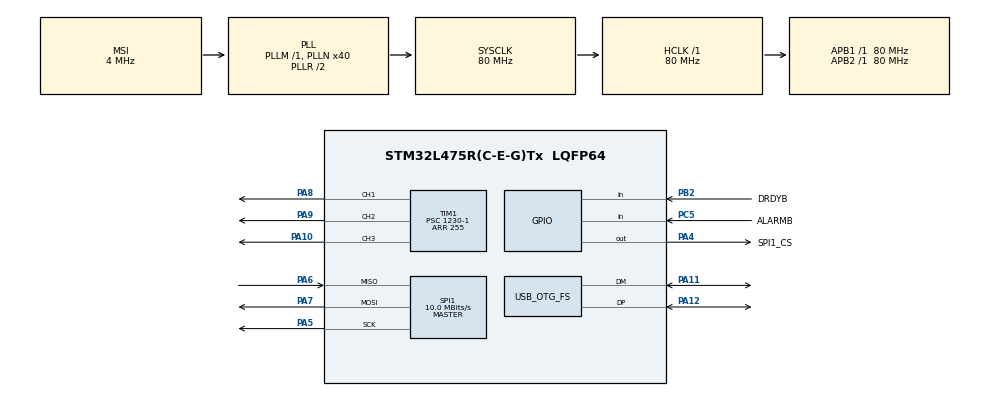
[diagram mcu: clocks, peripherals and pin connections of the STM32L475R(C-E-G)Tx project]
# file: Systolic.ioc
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Mcu.Family=STM32L4
Mcu.Name=STM32L475R(C-E-G)Tx
Mcu.Package=LQFP64
NVIC.OTG_FS_IRQn=true\:0\:0\:false\:false\:true\:false\:true
NVIC.PriorityGroup=NVIC_PRIORITYGROUP_4
PA10.Signal=S_TIM1_CH3
PA11.Mode=Device_Only
PA11.Signal=USB_OTG_FS_DM
PA12.Mode=Device_Only
PA12.Signal=USB_OTG_FS_DP
PA13\ (JTMS-SWDIO).Mode=Trace_Asynchronous_SW
PA13\ (JTMS-SWDIO).Signal=SYS_JTMS-SWDIO
PA14\ (JTCK-SWCLK).Mode=Trace_Asynchronous_SW
PA14\ (JTCK-SWCLK).Signal=SYS_JTCK-SWCLK
PA4.GPIO_Label=SPI1_CS
PA4.Signal=GPIO_Output
PA5.Mode=Full_Duplex_Master
PA5.Signal=SPI1_SCK
PA6.Mode=Full_Duplex_Master
PA6.Signal=SPI1_MISO
PA7.Mode=Full_Duplex_Master
PA7.Signal=SPI1_MOSI
PA8.Signal=S_TIM1_CH1
PA9.Signal=S_TIM1_CH2
PB2.GPIO_Label=DRDYB
PB2.Signal=GPIO_Input
PB3\ (JTDO-TRACESWO).Mode=Trace_Asynchronous_SW
PB3\ (JTDO-TRACESWO).Signal=SYS_JTDO-SWO
PC5.GPIO_Label=ALARMB
PC5.Signal=GPIO_Input
ProjectManager.HeapSize=0x200
ProjectManager.StackSize=0x400
ProjectManager.TargetToolchain=MDK-ARM V5.27
RCC.ADCFreq_Value=48000000
RCC.AHBFreq_Value=80000000
RCC.APB1Freq_Value=80000000
RCC.APB1TimFreq_Value=80000000
RCC.APB2Freq_Value=80000000
RCC.APB2TimFreq_Value=80000000
RCC.CortexFreq_Value=80000000
RCC.HCLKFreq_Value=80000000
RCC.HSE_VALUE=8000000
RCC.HSI_VALUE=16000000
RCC.LSE_VALUE=32768
RCC.MSI_VALUE=4000000
RCC.PLLN=40
RCC.PLLSAI1N=24
RCC.SYSCLKFreq_VALUE=80000000
RCC.SYSCLKSource=RCC_SYSCLKSOURCE_PLLCLK
RCC.USBFreq_Value=48000000
RCC.VCOOutputFreq_Value=160000000
SH.S_TIM1_CH1.0=TIM1_CH1,PWM Generation1 CH1
SH.S_TIM1_CH2.0=TIM1_CH2,PWM Generation2 CH2
SH.S_TIM1_CH3.0=TIM1_CH3,PWM Generation3 CH3
SPI1.BaudRatePrescaler=SPI_BAUDRATEPRESCALER_8
SPI1.CalculateBaudRate=10.0 MBits/s
SPI1.DataSize=SPI_DATASIZE_8BIT
SPI1.Direction=SPI_DIRECTION_2LINES
SPI1.Mode=SPI_MODE_MASTER
SPI1.VirtualType=VM_MASTER
TIM1.Channel-PWM\ Generation1\ CH1=TIM_CHANNEL_1
TIM1.Channel-PWM\ Generation2\ CH2=TIM_CHANNEL_2
TIM1.Channel-PWM\ Generation3\ CH3=TIM_CHANNEL_3
TIM1.Period=255
TIM1.Prescaler=1230-1
USB_DEVICE.CLASS_NAME_FS=CDC
USB_DEVICE.PRODUCT_STRING_CDC_FS=Systolic Virtual ComPort
USB_DEVICE.USBD_SELF_POWERED=0
USB_DEVICE.VirtualMode=Cdc
USB_DEVICE.VirtualModeFS=Cdc_FS
USB_OTG_FS.VirtualMode=Device_Only
VP_TIM1_VS_ClockSourceINT.Mode=Internal
VP_USB_DEVICE_VS_USB_DEVICE_CDC_FS.Mode=CDC_FS
board=custom

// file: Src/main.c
/* USER CODE BEGIN Header */
/**
  ******************************************************************************
  * @file           : main.c
  * @brief          : Main program body
  ******************************************************************************
  * @attention
  *
  * <h2><center>&copy; Copyright (c) 2020 STMicroelectronics.
  * All rights reserved.</center></h2>
  *
  * This software component is licensed by ST under Ultimate Liberty license
  * SLA0044, the "License"; You may not use this file except in compliance with
  * the License. You may obtain a copy of the License at:
  *                             www.st.com/SLA0044
  *
  ******************************************************************************
  */
/* USER CODE END Header */

#include "main.h"
#include "usb_device.h"

/* USER CODE BEGIN Includes */
#include "usbd_cdc_if.h"
#include <math.h>
#include <string.h>
#include <stdlib.h>
/* USER CODE END Includes */

SPI_HandleTypeDef hspi1;

TIM_HandleTypeDef htim1;

/* USER CODE BEGIN PV */

uint8_t spiData;
uint8_t spiReg;

uint8_t error_lod;
uint8_t error_status;
uint8_t error_range1;
uint8_t error_misc;
uint8_t revid;
uint8_t config;

uint8_t drdypin;

uint8_t upper_ch1;
uint8_t middle_ch1;
uint8_t lower_ch1;
unsigned int ch1_data;
uint8_t ch1_data2[3];
float ch1_voltage;

uint8_t tick = 0;

uint8_t upper_ch2;
uint8_t middle_ch2;
uint8_t lower_ch2;
unsigned int ch2_data;
uint8_t ch2_data2[3];
float ch2_voltage;

uint8_t upper_ch3;
uint8_t middle_ch3;
uint8_t lower_ch3;
unsigned int ch3_data;
uint8_t ch3_data2[3];
float ch3_voltage;

//uint8_t ch1_pace[2];
//float ch1_pace_voltage;
//float ch1_pace_old = 0;

char data[100];
uint8_t buffer3[1024];

float LSB;

HAL_StatusTypeDef result;

uint8_t testing;
uint8_t runstat = 0;

char usbregister[5];
char usbdata[5];
uint8_t usbreg_int;
uint8_t usbdata_int;

/* USER CODE END PV */

void SystemClock_Config(void);
static void MX_GPIO_Init(void);
static void MX_SPI1_Init(void);
static void MX_TIM1_Init(void);

/* USER CODE BEGIN 0 */

void set_RGB(uint8_t red, uint8_t green, uint8_t blue) {
	htim1.Instance->CCR1 = red;
	htim1.Instance->CCR2 = green;
	htim1.Instance->CCR3 = blue;
}

void start_RGB() {
	HAL_TIM_PWM_Start(&htim1, TIM_CHANNEL_1);
	HAL_TIM_PWM_Start(&htim1, TIM_CHANNEL_2);
	HAL_TIM_PWM_Start(&htim1, TIM_CHANNEL_3);
	set_RGB(0,0,0);
}

//FUNCTION TO READ ADS1293 REGISTERS WITH READ BIT
uint8_t read_reg(uint8_t reg) {
	//DEFINE REGISTER DATA VARIABLE
	uint8_t reg_data;
	//CS LOW - START SPI OP
	HAL_GPIO_WritePin(SPI1_CS_GPIO_Port, SPI1_CS_Pin, GPIO_PIN_RESET);
	//TRANSMIT REGISTER WITH READ BIT
	reg = 0x80 | reg;
	HAL_SPI_Transmit(&hspi1, &reg, 1, 10);
	//READ REGISTER DAT
	HAL_SPI_Receive(&hspi1, &reg_data, 1, 10);
	//CS HIGH - DONE SPI OP
	HAL_GPIO_WritePin(SPI1_CS_GPIO_Port, SPI1_CS_Pin, GPIO_PIN_SET);
	//RETURN REGISTER DATA =)
	return reg_data;
}

//FUNCTION TO WRITE TO ADS1293 REGISTERS
HAL_StatusTypeDef write_reg(uint8_t reg, uint8_t regdata) {
	uint8_t payload[2];
	HAL_StatusTypeDef writeresult;
	payload[0] = reg;
	payload[1] = regdata;
	//CS LOW - START SPI OP
	HAL_GPIO_WritePin(SPI1_CS_GPIO_Port, SPI1_CS_Pin, GPIO_PIN_RESET);
	//TRANSMIT REGISTER WITH DATA
	writeresult = HAL_SPI_Transmit(&hspi1, payload, 2, 10);
	//CS HIGH - DONE SPI OP
	HAL_GPIO_WritePin(SPI1_CS_GPIO_Port, SPI1_CS_Pin, GPIO_PIN_SET);
	//RETURN RESULT, e.g. HAL_OK or HAL_NOTOK
	return writeresult;
}

int fputc(int c, FILE *stream) {
	return(ITM_SendChar(c));
}

/* USER CODE END 0 */

int main(void)
{

  /* MCU Configuration--------------------------------------------------------*/

  /* Reset of all peripherals, Initializes the Flash interface and the Systick. */
  HAL_Init();

  /* Configure the system clock */
  SystemClock_Config();

  /* Initialize all configured peripherals */
  MX_GPIO_Init();
  MX_SPI1_Init();
  MX_TIM1_Init();
  MX_USB_DEVICE_Init();
  /* USER CODE BEGIN 2 */
	//CS DEFAULT HIGH
	HAL_GPIO_WritePin(SPI1_CS_GPIO_Port, SPI1_CS_Pin, GPIO_PIN_SET);

	start_RGB();

	//STOP CONVERSION -> 00000000
	spiData = 0x00;
	spiReg = 0x00;
	result = write_reg(spiReg, spiData);
	HAL_Delay(250);

	//SET CH1 PROPERTIES -> 00001010 -> NO TEST, IN1 to POS, and IN2 to NEG
	spiData = 0x0A; //LEAD I
	spiReg = 0x01;
	result = write_reg(spiReg, spiData);

	//SET CH2 PROPERTIES -> 00011010 -> NO TEST, IN3 to POS, and IN2 to NEG
	spiData = 0x1A; //LEAD II
	spiReg = 0x02;
	result = write_reg(spiReg, spiData);

	//SET CH3 PROPERTIES -> 00011001 -> NO TEST, IN3 to POS, and IN1 to NEG
	spiData = 0x19; //LEAD III
	spiReg = 0x03;
	result = write_reg(spiReg, spiData);

	//SETUP CLK
	spiData = 0x04;
	spiReg = 0x12;
	result = write_reg(spiReg, spiData);

	//Setup R2 DEC RATE
	//spiData = 0x01; //4
	spiData = 0x08; //8
	spiReg = 0x21;
	result = write_reg(spiReg, spiData);

	//Setup R3-1, R3-2 & R3-3
	//spiData = 0x08; //12
	spiData = 0x10; //16
	//spiData = 0x20; //32
	//spiData = 0x40; //64
	//spiData = 0x80; //128

	spiReg = 0x22;
	result = write_reg(spiReg, spiData);
	spiReg = 0x23;
	result = write_reg(spiReg, spiData);
	spiReg = 0x24;
	result = write_reg(spiReg, spiData);

	//DRDY TO CHANNEL 1 ECG
	spiData = 0x08;
	spiReg = 0x27;
	result = write_reg(spiReg, spiData);

	//RLDOUT SETUP & TO IN4
	//spiData = 0x04; //LOW BAND
	spiData = 0x44; //HIGH BAND
	spiReg = 0x0C;
	result = write_reg(spiReg, spiData);

	//COMMONMODE USING IN1, IN2 & IN3
	spiData = 0x07;
	spiReg = 0x0A;
	result = write_reg(spiReg, spiData);

	//COMMONMODE SETUP
	spiData = 0x04; //HIGH BAND LOW CAP DRV
	//spiData = 0x05; //HIGH BAND MED CAP DRV
	spiReg = 0x0B;
	result = write_reg(spiReg, spiData);

	//LOOP BACK SETUP
	//spiData = 0x10; //CH1 ONLY
	spiData = 0x30; //CH1 & CH2 ONLY
	spiReg = 0x2F;
	result = write_reg(spiReg, spiData);

	//SHUT DOWN CHANNELS
	//spiData = 0x36; //CH3 AND CH2 OFF
	//spiData = 0x24; //CH3 OFF
	spiData = 0x00; //ALL ON
	spiReg = 0x14;
	result = write_reg(spiReg, spiData);

	//FRONT END RESOLUTION
	//spiData = 0x03; //HIGH RES CH1 & CH2
	//spiData = 0x07; //HIGH RES ALL 102.4 KHz
	spiData = 0x3F; //HIGH RES ALL 204.8 KHz
	spiReg = 0x13;
	result = write_reg(spiReg, spiData);

	//START CONVERSION -> 00000001
	spiData = 0x01;
	spiReg = 0x00;
	result = write_reg(spiReg, spiData);

  /* USER CODE END 2 */

  /* Infinite loop */
  /* USER CODE BEGIN WHILE */
  while (1)
  {
		//READ DRDY STATUS
		drdypin = HAL_GPIO_ReadPin(DRDYB_GPIO_Port, DRDYB_Pin);
		if (drdypin == 0 && runstat == 1) {
		//if (runstat == 1) {
			set_RGB(0,0,20);

			//READ CH1 ECG
			upper_ch1 = read_reg(0x37);
			middle_ch1 = read_reg(0x38);
			lower_ch1 = read_reg(0x39);

			ch1_data = upper_ch1 << 16 | middle_ch1 << 8 | lower_ch1;
			ch1_voltage = ch1_data; //(((ch1_data / 0x800000) - (1.00/2.00)) * 4.8) / 3.5;

			//READ CH2 ECG
			upper_ch2 = read_reg(0x3A);
			middle_ch2 = read_reg(0x3B);
			lower_ch2 = read_reg(0x3C);

			ch2_data = upper_ch2 << 16 | middle_ch2 << 8 | lower_ch2;
			ch2_voltage = ch2_data;

			//READ CH3 ECG
			upper_ch3 = read_reg(0x3D);
			middle_ch3 = read_reg(0x3E);
			lower_ch3 = read_reg(0x3F);

			ch3_data = upper_ch3 << 16 | middle_ch3 << 8 | lower_ch3;
			ch3_voltage = ch3_data;

			//mV conversion
			//ch1_voltage = ch1_voltage * pow(10.0,3.0);
			//ch2_voltage = ch2_voltage * pow(10.0,3.0);
			//ch3_voltage = ch3_voltage * pow(10.0,3.0);

			/*
			ch1_pace[0] = read_reg(0x31);
			ch1_pace[1] = read_reg(0x32);
			ch1_pace_voltage = ch1_pace[0] << 8 | ch1_pace[1];
			if ((ch1_pace_voltage - ch1_pace_old) > 0 && ch1_pace_voltage > )
			*/

			//CALCULATE LEAD III

			/*
			//READ CH1 PACE
			upper_ch1 = read_reg(0x31);
			lower_ch1 = read_reg(0x32);
			ch1_data = upper_ch1 << 8 | lower_ch1;
			ch1_voltage = ch1_data;
			*/
			/*
			//READ ERROR REGISTERS
			error_lod = read_reg(0x18);
			error_status = read_reg(0x19);
			error_range1 = read_reg(00x1A);
			error_misc = read_reg(0x1E);
			revid = read_reg(0x40);
			config = read_reg(0x00);
			*/

			// sprintf(data, "%f\n", ch2_voltage);
			sprintf(data, "%f,%f,%f\n", ch1_voltage, ch2_voltage, ch3_voltage);
			strcpy (buffer3, data);
			CDC_Transmit_FS(buffer3, strlen(buffer3));
			//printf("Data read!");
			set_RGB(0,20,0);
		}
		//HAL_Delay(1000);

    /* USER CODE END WHILE */

  }
}

void SystemClock_Config(void)
{
  RCC_OscInitTypeDef RCC_OscInitStruct = {0};
  RCC_ClkInitTypeDef RCC_ClkInitStruct = {0};
  RCC_PeriphCLKInitTypeDef PeriphClkInit = {0};

  /** Initializes the CPU, AHB and APB busses clocks
  */
  RCC_OscInitStruct.OscillatorType = RCC_OSCILLATORTYPE_MSI;
  RCC_OscInitStruct.MSIState = RCC_MSI_ON;
  RCC_OscInitStruct.MSICalibrationValue = 0;
  RCC_OscInitStruct.MSIClockRange = RCC_MSIRANGE_6;
  RCC_OscInitStruct.PLL.PLLState = RCC_PLL_ON;
  RCC_OscInitStruct.PLL.PLLSource = RCC_PLLSOURCE_MSI;
  RCC_OscInitStruct.PLL.PLLM = 1;
  RCC_OscInitStruct.PLL.PLLN = 40;
  RCC_OscInitStruct.PLL.PLLP = RCC_PLLP_DIV7;
  RCC_OscInitStruct.PLL.PLLQ = RCC_PLLQ_DIV2;
  RCC_OscInitStruct.PLL.PLLR = RCC_PLLR_DIV2;
  if (HAL_RCC_OscConfig(&RCC_OscInitStruct) != HAL_OK)
  {
    Error_Handler();
  }
  /** Initializes the CPU, AHB and APB busses clocks
  */
  RCC_ClkInitStruct.ClockType = RCC_CLOCKTYPE_HCLK|RCC_CLOCKTYPE_SYSCLK
                              |RCC_CLOCKTYPE_PCLK1|RCC_CLOCKTYPE_PCLK2;
  RCC_ClkInitStruct.SYSCLKSource = RCC_SYSCLKSOURCE_PLLCLK;
  RCC_ClkInitStruct.AHBCLKDivider = RCC_SYSCLK_DIV1;
  RCC_ClkInitStruct.APB1CLKDivider = RCC_HCLK_DIV1;
  RCC_ClkInitStruct.APB2CLKDivider = RCC_HCLK_DIV1;

  if (HAL_RCC_ClockConfig(&RCC_ClkInitStruct, FLASH_LATENCY_4) != HAL_OK)
  {
    Error_Handler();
  }
  PeriphClkInit.PeriphClockSelection = RCC_PERIPHCLK_USB;
  PeriphClkInit.UsbClockSelection = RCC_USBCLKSOURCE_PLLSAI1;
  PeriphClkInit.PLLSAI1.PLLSAI1Source = RCC_PLLSOURCE_MSI;
  PeriphClkInit.PLLSAI1.PLLSAI1M = 1;
  PeriphClkInit.PLLSAI1.PLLSAI1N = 24;
  PeriphClkInit.PLLSAI1.PLLSAI1P = RCC_PLLP_DIV7;
  PeriphClkInit.PLLSAI1.PLLSAI1Q = RCC_PLLQ_DIV2;
  PeriphClkInit.PLLSAI1.PLLSAI1R = RCC_PLLR_DIV2;
  PeriphClkInit.PLLSAI1.PLLSAI1ClockOut = RCC_PLLSAI1_48M2CLK;
  if (HAL_RCCEx_PeriphCLKConfig(&PeriphClkInit) != HAL_OK)
  {
    Error_Handler();
  }
  /** Configure the main internal regulator output voltage
  */
  if (HAL_PWREx_ControlVoltageScaling(PWR_REGULATOR_VOLTAGE_SCALE1) != HAL_OK)
  {
    Error_Handler();
  }
}

static void MX_SPI1_Init(void)
{

  /* SPI1 parameter configuration*/
  hspi1.Instance = SPI1;
  hspi1.Init.Mode = SPI_MODE_MASTER;
  hspi1.Init.Direction = SPI_DIRECTION_2LINES;
  hspi1.Init.DataSize = SPI_DATASIZE_8BIT;
  hspi1.Init.CLKPolarity = SPI_POLARITY_LOW;
  hspi1.Init.CLKPhase = SPI_PHASE_1EDGE;
  hspi1.Init.NSS = SPI_NSS_SOFT;
  hspi1.Init.BaudRatePrescaler = SPI_BAUDRATEPRESCALER_8;
  hspi1.Init.FirstBit = SPI_FIRSTBIT_MSB;
  hspi1.Init.TIMode = SPI_TIMODE_DISABLE;
  hspi1.Init.CRCCalculation = SPI_CRCCALCULATION_DISABLE;
  hspi1.Init.CRCPolynomial = 7;
  hspi1.Init.CRCLength = SPI_CRC_LENGTH_DATASIZE;
  hspi1.Init.NSSPMode = SPI_NSS_PULSE_ENABLE;
  if (HAL_SPI_Init(&hspi1) != HAL_OK)
  {
    Error_Handler();
  }

}

static void MX_TIM1_Init(void)
{

  TIM_ClockConfigTypeDef sClockSourceConfig = {0};
  TIM_MasterConfigTypeDef sMasterConfig = {0};
  TIM_OC_InitTypeDef sConfigOC = {0};
  TIM_BreakDeadTimeConfigTypeDef sBreakDeadTimeConfig = {0};

  htim1.Instance = TIM1;
  htim1.Init.Prescaler = 1230-1;
  htim1.Init.CounterMode = TIM_COUNTERMODE_UP;
  htim1.Init.Period = 255;
  htim1.Init.ClockDivision = TIM_CLOCKDIVISION_DIV1;
  htim1.Init.RepetitionCounter = 0;
  htim1.Init.AutoReloadPreload = TIM_AUTORELOAD_PRELOAD_DISABLE;
  if (HAL_TIM_Base_Init(&htim1) != HAL_OK)
  {
    Error_Handler();
  }
  sClockSourceConfig.ClockSource = TIM_CLOCKSOURCE_INTERNAL;
  if (HAL_TIM_ConfigClockSource(&htim1, &sClockSourceConfig) != HAL_OK)
  {
    Error_Handler();
  }
  if (HAL_TIM_PWM_Init(&htim1) != HAL_OK)
  {
    Error_Handler();
  }
  sMasterConfig.MasterOutputTrigger = TIM_TRGO_RESET;
  sMasterConfig.MasterOutputTrigger2 = TIM_TRGO2_RESET;
  sMasterConfig.MasterSlaveMode = TIM_MASTERSLAVEMODE_DISABLE;
  if (HAL_TIMEx_MasterConfigSynchronization(&htim1, &sMasterConfig) != HAL_OK)
  {
    Error_Handler();
  }
  sConfigOC.OCMode = TIM_OCMODE_PWM1;
  sConfigOC.Pulse = 0;
  sConfigOC.OCPolarity = TIM_OCPOLARITY_HIGH;
  sConfigOC.OCNPolarity = TIM_OCNPOLARITY_HIGH;
  sConfigOC.OCFastMode = TIM_OCFAST_DISABLE;
  sConfigOC.OCIdleState = TIM_OCIDLESTATE_RESET;
  sConfigOC.OCNIdleState = TIM_OCNIDLESTATE_RESET;
  if (HAL_TIM_PWM_ConfigChannel(&htim1, &sConfigOC, TIM_CHANNEL_1) != HAL_OK)
  {
    Error_Handler();
  }
  if (HAL_TIM_PWM_ConfigChannel(&htim1, &sConfigOC, TIM_CHANNEL_2) != HAL_OK)
  {
    Error_Handler();
  }
  if (HAL_TIM_PWM_ConfigChannel(&htim1, &sConfigOC, TIM_CHANNEL_3) != HAL_OK)
  {
    Error_Handler();
  }
  sBreakDeadTimeConfig.OffStateRunMode = TIM_OSSR_DISABLE;
  sBreakDeadTimeConfig.OffStateIDLEMode = TIM_OSSI_DISABLE;
  sBreakDeadTimeConfig.LockLevel = TIM_LOCKLEVEL_OFF;
  sBreakDeadTimeConfig.DeadTime = 0;
  sBreakDeadTimeConfig.BreakState = TIM_BREAK_DISABLE;
  sBreakDeadTimeConfig.BreakPolarity = TIM_BREAKPOLARITY_HIGH;
  sBreakDeadTimeConfig.BreakFilter = 0;
  sBreakDeadTimeConfig.Break2State = TIM_BREAK2_DISABLE;
  sBreakDeadTimeConfig.Break2Polarity = TIM_BREAK2POLARITY_HIGH;
  sBreakDeadTimeConfig.Break2Filter = 0;
  sBreakDeadTimeConfig.AutomaticOutput = TIM_AUTOMATICOUTPUT_DISABLE;
  if (HAL_TIMEx_ConfigBreakDeadTime(&htim1, &sBreakDeadTimeConfig) != HAL_OK)
  {
    Error_Handler();
  }
  HAL_TIM_MspPostInit(&htim1);

}

static void MX_GPIO_Init(void)
{
  GPIO_InitTypeDef GPIO_InitStruct = {0};

  /* GPIO Ports Clock Enable */
  __HAL_RCC_GPIOA_CLK_ENABLE();
  __HAL_RCC_GPIOC_CLK_ENABLE();
  __HAL_RCC_GPIOB_CLK_ENABLE();

  /*Configure GPIO pin Output Level */
  HAL_GPIO_WritePin(SPI1_CS_GPIO_Port, SPI1_CS_Pin, GPIO_PIN_RESET);

  /*Configure GPIO pin : SPI1_CS_Pin */
  GPIO_InitStruct.Pin = SPI1_CS_Pin;
  GPIO_InitStruct.Mode = GPIO_MODE_OUTPUT_PP;
  GPIO_InitStruct.Pull = GPIO_NOPULL;
  GPIO_InitStruct.Speed = GPIO_SPEED_FREQ_LOW;
  HAL_GPIO_Init(SPI1_CS_GPIO_Port, &GPIO_InitStruct);

  /*Configure GPIO pin : ALARMB_Pin */
  GPIO_InitStruct.Pin = ALARMB_Pin;
  GPIO_InitStruct.Mode = GPIO_MODE_INPUT;
  GPIO_InitStruct.Pull = GPIO_NOPULL;
  HAL_GPIO_Init(ALARMB_GPIO_Port, &GPIO_InitStruct);

  /*Configure GPIO pin : DRDYB_Pin */
  GPIO_InitStruct.Pin = DRDYB_Pin;
  GPIO_InitStruct.Mode = GPIO_MODE_INPUT;
  GPIO_InitStruct.Pull = GPIO_NOPULL;
  HAL_GPIO_Init(DRDYB_GPIO_Port, &GPIO_InitStruct);

}

/* USER CODE BEGIN 4 */

void CDC_RecieveCallBack(uint8_t *buf, uint32_t len) {

	//STOP CONVERSION -> 00000000

	spiData = 0x00;
	spiReg = 0x00;
	result = write_reg(spiReg, spiData);
	printf("Stopped Conversion!\n");
	runstat = 0;

	testing = read_reg(0x00);
	char usbregister[5];
	memcpy( usbregister, &buf[0], 4 );
	usbregister[4] = '\0';

	char usbdata[5];
	memcpy( usbdata, &buf[5], 4 );
	usbdata[4] = '\0';

	/*
	printf((char*)usbregister);
	printf("\n");
	printf((char*)usbdata);
	*/

	usbreg_int = strtoul(usbregister, NULL, 16);
	usbdata_int = strtoul(usbdata, NULL, 16);

	write_reg(usbreg_int, usbdata_int);
	sprintf(data, "Register: %i, Data: %i \n", usbreg_int, usbdata_int);

	if (strncmp(usbregister, "0x00", 2) == 0 && strncmp(usbdata, "0x01", 4) == 0) {
		runstat = 1;
		// printf((uint8_t*)usbregister);
		// printf((uint8_t*)usbdata);
	}
}

/* USER CODE END 4 */

void Error_Handler(void)
{
}

/************************ (C) COPYRIGHT STMicroelectronics *****END OF FILE****/
